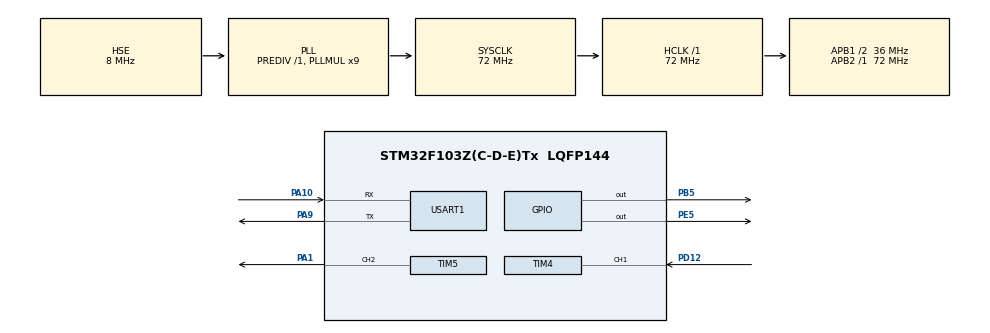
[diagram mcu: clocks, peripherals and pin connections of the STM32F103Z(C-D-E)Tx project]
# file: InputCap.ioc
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Mcu.Family=STM32F1
Mcu.Name=STM32F103Z(C-D-E)Tx
Mcu.Package=LQFP144
NVIC.PriorityGroup=NVIC_PRIORITYGROUP_4
NVIC.TIM4_IRQn=true\:0\:0\:false\:false\:true\:true\:true\:true
NVIC.USART1_IRQn=true\:0\:0\:false\:false\:true\:true\:true\:true
OSC_IN.Mode=HSE-External-Oscillator
OSC_IN.Signal=RCC_OSC_IN
OSC_OUT.Mode=HSE-External-Oscillator
OSC_OUT.Signal=RCC_OSC_OUT
PA1.Signal=S_TIM5_CH2
PA10.Mode=Asynchronous
PA10.Signal=USART1_RX
PA13.Mode=Serial_Wire
PA13.Signal=SYS_JTMS-SWDIO
PA14.Mode=Serial_Wire
PA14.Signal=SYS_JTCK-SWCLK
PA9.Mode=Asynchronous
PA9.Signal=USART1_TX
PB5.Signal=GPIO_Output
PD12.Signal=S_TIM4_CH1
PE5.Signal=GPIO_Output
ProjectManager.HeapSize=0x200
ProjectManager.StackSize=0x400
ProjectManager.TargetToolchain=MDK-ARM V5.32
RCC.AHBFreq_Value=72000000
RCC.APB1CLKDivider=RCC_HCLK_DIV2
RCC.APB1Freq_Value=36000000
RCC.APB1TimFreq_Value=72000000
RCC.APB2Freq_Value=72000000
RCC.APB2TimFreq_Value=72000000
RCC.HCLKFreq_Value=72000000
RCC.PLLMUL=RCC_PLL_MUL9
RCC.PLLSourceVirtual=RCC_PLLSOURCE_HSE
RCC.SYSCLKFreq_VALUE=72000000
RCC.SYSCLKSource=RCC_SYSCLKSOURCE_PLLCLK
RCC.USBFreq_Value=72000000
SH.S_TIM4_CH1.0=TIM4_CH1,Input_Capture1_from_TI1
SH.S_TIM5_CH2.0=TIM5_CH2,PWM Generation2 CH2
TIM4.Channel-Input_Capture1_from_TI1=TIM_CHANNEL_1
TIM4.Channel-Input_Capture2_from_TI1_63=TIM_CHANNEL_2
TIM4.ICPolarity_CH2=TIM_INPUTCHANNELPOLARITY_FALLING
TIM4.Prescaler=71
TIM5.Channel-PWM\ Generation2\ CH2=TIM_CHANNEL_2
TIM5.Period=999
TIM5.Prescaler=71
USART1.VirtualMode=VM_ASYNC
VP_TIM4_VS_ClockSourceINT.Mode=Internal
VP_TIM4_VS_indirect_ch1.Mode=Input_Capture2_from_TI1_63
board=custom

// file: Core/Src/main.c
/* USER CODE BEGIN Header */
/**
 ******************************************************************************
 * @file           : main.c
 * @brief          : Main program body
 ******************************************************************************
 * @attention
 *
 * Copyright (c) 2024 STMicroelectronics.
 * All rights reserved.
 *
 * This software is licensed under terms that can be found in the LICENSE file
 * in the root directory of this software component.
 * If no LICENSE file comes with this software, it is provided AS-IS.
 *
 ******************************************************************************
 */
/* USER CODE END Header */
#include "main.h"
#include "tim.h"
#include "usart.h"
#include "gpio.h"

/* USER CODE BEGIN Includes */
#include "string.h"
#include "stdio.h"
#include "callback.h"
/* USER CODE END Includes */

/* USER CODE BEGIN PV */
double duty;
uint32_t countRising;
uint32_t countFalling;
char message[100];
/* USER CODE END PV */

void SystemClock_Config(void);

int main(void)
{

    /* MCU Configuration--------------------------------------------------------*/

    /* Reset of all peripherals, Initializes the Flash interface and the Systick. */
    HAL_Init();

    /* Configure the system clock */
    SystemClock_Config();

    /* Initialize all configured peripherals */
    MX_GPIO_Init();
    MX_TIM5_Init();
    MX_USART1_UART_Init();
    MX_TIM4_Init();

    /* Infinite loop */
    /* USER CODE BEGIN WHILE */
    __HAL_TIM_SetCompare(&htim5, TIM_CHANNEL_2, 199);
    HAL_TIM_PWM_Start(&htim5, TIM_CHANNEL_2);
    HAL_TIM_IC_Start_IT(&htim4, TIM_CHANNEL_1);
    HAL_TIM_IC_Start_IT(&htim4, TIM_CHANNEL_2);
    while (1) {
        if (countRising != 0) {
            double duty = (double)countFalling / countRising;
            double freq = (72000000 / 72) / (double)countRising;
            sprintf(message, "%.2f %.2f\n", duty, freq);
            HAL_UART_Transmit_IT(&huart1, (uint8_t *)message, strlen(message));
        } else {
            sprintf(message, "no data\n");
            HAL_UART_Transmit_IT(&huart1, (uint8_t *)message, strlen(message));
        }
        HAL_Delay(500);
        /* USER CODE END WHILE */

    }
}

void SystemClock_Config(void)
{
    RCC_OscInitTypeDef RCC_OscInitStruct = {0};
    RCC_ClkInitTypeDef RCC_ClkInitStruct = {0};

    /** Initializes the RCC Oscillators according to the specified parameters
     * in the RCC_OscInitTypeDef structure.
     */
    RCC_OscInitStruct.OscillatorType = RCC_OSCILLATORTYPE_HSE;
    RCC_OscInitStruct.HSEState       = RCC_HSE_ON;
    RCC_OscInitStruct.HSEPredivValue = RCC_HSE_PREDIV_DIV1;
    RCC_OscInitStruct.HSIState       = RCC_HSI_ON;
    RCC_OscInitStruct.PLL.PLLState   = RCC_PLL_ON;
    RCC_OscInitStruct.PLL.PLLSource  = RCC_PLLSOURCE_HSE;
    RCC_OscInitStruct.PLL.PLLMUL     = RCC_PLL_MUL9;
    if (HAL_RCC_OscConfig(&RCC_OscInitStruct) != HAL_OK) {
        Error_Handler();
    }

    /** Initializes the CPU, AHB and APB buses clocks
     */
    RCC_ClkInitStruct.ClockType      = RCC_CLOCKTYPE_HCLK | RCC_CLOCKTYPE_SYSCLK | RCC_CLOCKTYPE_PCLK1 | RCC_CLOCKTYPE_PCLK2;
    RCC_ClkInitStruct.SYSCLKSource   = RCC_SYSCLKSOURCE_PLLCLK;
    RCC_ClkInitStruct.AHBCLKDivider  = RCC_SYSCLK_DIV1;
    RCC_ClkInitStruct.APB1CLKDivider = RCC_HCLK_DIV2;
    RCC_ClkInitStruct.APB2CLKDivider = RCC_HCLK_DIV1;

    if (HAL_RCC_ClockConfig(&RCC_ClkInitStruct, FLASH_LATENCY_2) != HAL_OK) {
        Error_Handler();
    }
}

void Error_Handler(void)
{
    __disable_irq();
    while (1) {
    }
}
